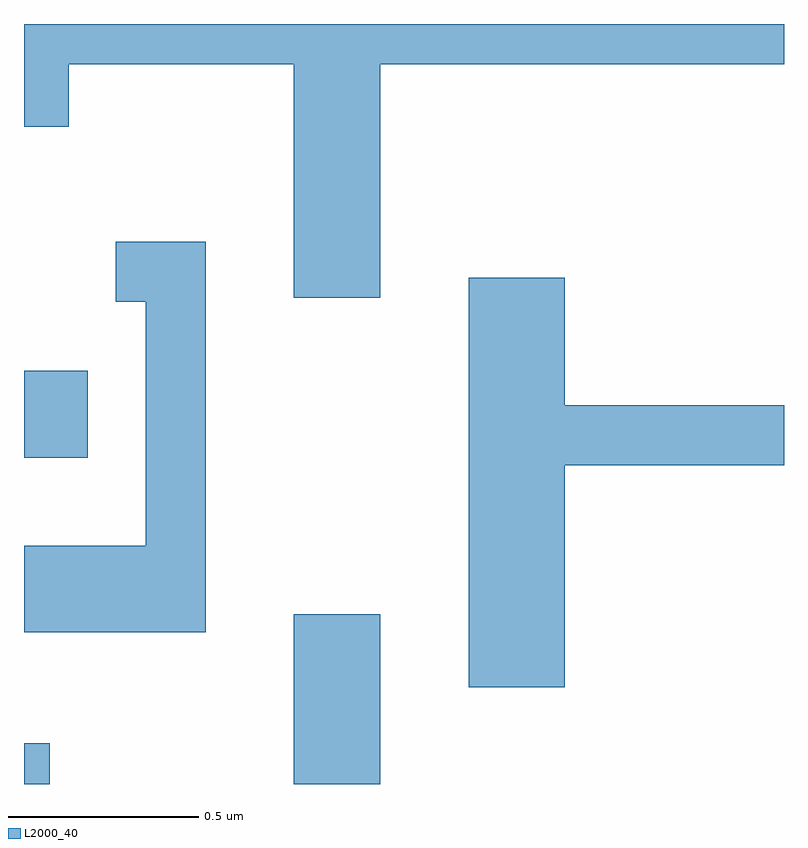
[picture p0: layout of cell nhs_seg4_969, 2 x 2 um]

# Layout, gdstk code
import gdstk
lib = gdstk.Library(unit=1e-6, precision=1e-09)
def R(c, l, rs):  # rectangles x0, y0, x1, y1
    for r in rs: c.add(gdstk.rectangle(r[:2], r[2:], *l))
def P(c, l, *ps):  # polygons
    for p in ps: c.add(gdstk.Polygon(p, *l))
L2000_40 = (2000, 40)

nhs_seg4_969 = lib.new_cell('nhs_seg4_969')
R(nhs_seg4_969, L2000_40, [(192.611,1263.982,192.679,1264.089), (193.321,1263.982,193.549,1264.429), (192.611,1264.841,192.779,1265.069)])
P(nhs_seg4_969, L2000_40, [(193.549,1265.876),(194.611,1265.876),(194.611,1265.982),(192.611,1265.982),(192.611,1265.711),(192.729,1265.711),(192.729,1265.876),(193.321,1265.876),(193.321,1265.261),(193.549,1265.261)],
  [(193.089,1265.409),(192.853,1265.409),(192.853,1265.251),(192.931,1265.251),(192.931,1264.609),(192.611,1264.609),(192.611,1264.381),(193.089,1264.381)],
  [(194.034,1264.821),(194.611,1264.821),(194.611,1264.979),(194.034,1264.979),(194.034,1265.314),(193.781,1265.314),(193.781,1264.236),(194.034,1264.236)])

lib.write_gds('nhs_seg4_969.gds')
